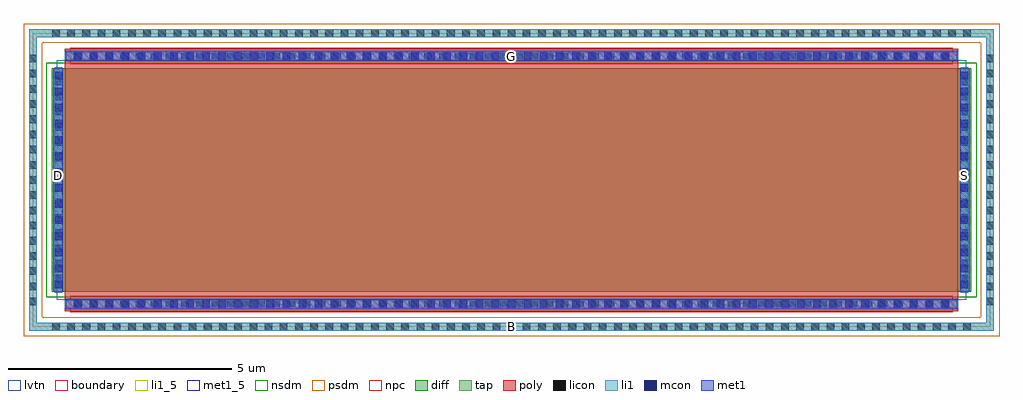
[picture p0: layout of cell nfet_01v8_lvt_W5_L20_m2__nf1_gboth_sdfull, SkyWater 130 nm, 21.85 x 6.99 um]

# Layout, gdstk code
import gdstk
lib = gdstk.Library(unit=1e-6, precision=1e-09)
def R(c, l, rs):  # rectangles x0, y0, x1, y1
    for r in rs: c.add(gdstk.rectangle(r[:2], r[2:], *l))
def A(c, l, x, y, w, h, nx, ny, dx, dy):  # array of equal rectangles
    R(c, l, [(x+i*dx, y+j*dy, x+i*dx+w, y+j*dy+h) for i in range(nx) for j in range(ny)])
diff = (65, 20)
tap = (65, 44)
poly = (66, 20)
licon = (66, 44)
li1_5 = (67, 5)
li1 = (67, 20)
mcon = (67, 44)
met1_5 = (68, 5)
met1 = (68, 20)
nsdm = (93, 44)
psdm = (94, 20)
npc = (95, 20)
lvtn = (125, 44)
boundary = (235, 4)

sky130_fd_pr__nfet_01v8_ = lib.new_cell('sky130_fd_pr__nfet_01v8_lvt_4PQY96')
R(sky130_fd_pr__nfet_01v8_, diff, [(-10.29,-2.5,10.29,2.5)])
R(sky130_fd_pr__nfet_01v8_, tap, [(-10.8,-3.37,10.8,-3.2), (-10.8,-3.2,-10.63,3.2), (10.63,-3.2,10.8,3.2), (-10.8,3.2,10.8,3.37)])
R(sky130_fd_pr__nfet_01v8_, poly, [(-10,-2.94,10,2.94)])
A(sky130_fd_pr__nfet_01v8_, licon, -10.285, -3.37, 0.17, 0.17, 61, 2, 0.34, 6.57)
A(sky130_fd_pr__nfet_01v8_, licon, -9.775, -2.86, 0.17, 0.17, 58, 2, 0.34, 5.55)
A(sky130_fd_pr__nfet_01v8_, licon, -10.8, -2.805, 0.17, 0.17, 1, 17, 0, 0.34)
A(sky130_fd_pr__nfet_01v8_, licon, 10.63, -2.805, 0.17, 0.17, 1, 17, 0, 0.34)
A(sky130_fd_pr__nfet_01v8_, licon, -10.23, -2.295, 0.17, 0.17, 1, 14, 0, 0.34)
A(sky130_fd_pr__nfet_01v8_, licon, 10.06, -2.295, 0.17, 0.17, 1, 14, 0, 0.34)
R(sky130_fd_pr__nfet_01v8_, li1, [(-10.8,-3.37,10.8,-3.2), (-10.8,-3.2,-10.63,3.2), (10.63,-3.2,10.8,3.2), (-10,-2.86,10,-2.69), (-10.23,-2.52,-10.06,2.52), (10.06,-2.52,10.23,2.52), (-10,2.69,10,2.86), (-10.8,3.2,10.8,3.37)])
A(sky130_fd_pr__nfet_01v8_, mcon, -9.805, -2.86, 0.17, 0.17, 55, 2, 0.36, 5.55)
A(sky130_fd_pr__nfet_01v8_, mcon, -10.23, -2.425, 0.17, 0.17, 1, 14, 0, 0.36)
A(sky130_fd_pr__nfet_01v8_, mcon, 10.06, -2.425, 0.17, 0.17, 1, 14, 0, 0.36)
R(sky130_fd_pr__nfet_01v8_, met1, [(-9.98,-2.89,9.98,-2.66), (-10.26,-2.5,-10.03,2.5), (10.03,-2.5,10.26,2.5), (-9.98,2.66,9.98,2.89)])
R(sky130_fd_pr__nfet_01v8_, nsdm, [(-10.415,-2.625,10.415,2.625)])
R(sky130_fd_pr__nfet_01v8_, psdm, [(-10.925,-3.495,10.925,-3.075), (-10.925,-3.075,-10.505,3.075), (10.505,-3.075,10.925,3.075), (-10.925,3.075,10.925,3.495)])
R(sky130_fd_pr__nfet_01v8_, npc, [(-9.875,-2.96,9.875,-2.59), (-9.875,2.59,9.875,2.96)])
R(sky130_fd_pr__nfet_01v8_, lvtn, [(-10.18,-2.68,10.18,2.68)])
R(sky130_fd_pr__nfet_01v8_, boundary, [(-10.715,-3.285,10.715,3.285)])
sky130_fd_pr__nfet_01v8_.add(gdstk.Label('B', (0,-3.285), layer=67, texttype=5))
sky130_fd_pr__nfet_01v8_.add(gdstk.Label('D', (-10.145,0), layer=67, texttype=5))
sky130_fd_pr__nfet_01v8_.add(gdstk.Label('S', (10.145,0), layer=67, texttype=5))
sky130_fd_pr__nfet_01v8_.add(gdstk.Label('G', (0,2.775), layer=67, texttype=5))

nfet_01v8_lvt_w5_l20_m2_ = lib.new_cell('nfet_01v8_lvt_W5_L20_m2__nf1_gboth_sdfull')
R(nfet_01v8_lvt_w5_l20_m2_, li1_5, [(10.63,-0.085,10.8,0.085)])
R(nfet_01v8_lvt_w5_l20_m2_, li1, [(10.63,-0.085,10.8,0.085)])
R(nfet_01v8_lvt_w5_l20_m2_, met1_5, [(0.455,3.285,0.685,3.485), (20.745,3.285,20.975,3.485), (0.735,5.945,20.695,6.175)])
R(nfet_01v8_lvt_w5_l20_m2_, met1, [(0.455,3.285,0.685,3.485), (20.745,3.285,20.975,3.485), (0.735,5.945,20.695,6.175)])
nfet_01v8_lvt_w5_l20_m2_.add(gdstk.Reference(sky130_fd_pr__nfet_01v8_, (10.715,3.285)))
nfet_01v8_lvt_w5_l20_m2_.add(gdstk.Label('D', (0.57,3.385), layer=68, texttype=5))
nfet_01v8_lvt_w5_l20_m2_.add(gdstk.Label('S', (20.86,3.385), layer=68, texttype=5))
nfet_01v8_lvt_w5_l20_m2_.add(gdstk.Label('G', (10.715,6.06), layer=68, texttype=5))
nfet_01v8_lvt_w5_l20_m2_.add(gdstk.Label('B', (10.715,0), layer=67, texttype=5))

lib.write_gds('nfet_01v8_lvt_W5_L20_m2__nf1_gboth_sdfull.gds')
